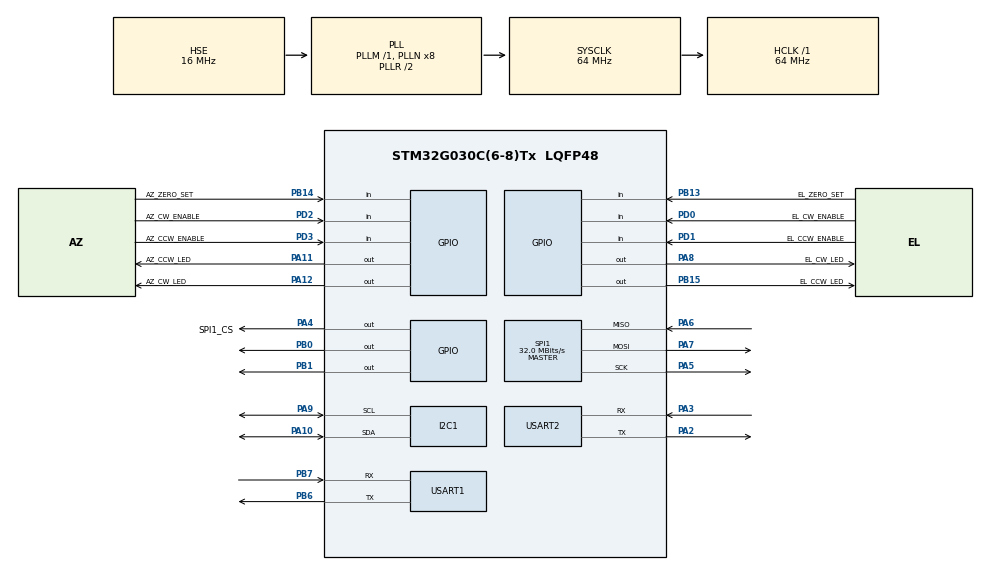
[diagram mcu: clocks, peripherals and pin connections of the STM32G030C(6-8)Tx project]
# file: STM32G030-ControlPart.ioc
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I2C1.Timing=0x10707DBC
Mcu.Family=STM32G0
Mcu.Name=STM32G030C(6-8)Tx
Mcu.Package=LQFP48
PA10.Mode=I2C
PA10.Signal=I2C1_SDA
PA11\ [PA9].GPIO_Label=AZ_CCW_LED
PA11\ [PA9].Signal=GPIO_Output
PA12\ [PA10].GPIO_Label=AZ_CW_LED
PA12\ [PA10].Signal=GPIO_Output
PA13.Mode=Serial_Wire
PA13.Signal=SYS_SWDIO
PA14-BOOT0.Mode=Serial_Wire
PA14-BOOT0.Signal=SYS_SWCLK
PA2.Mode=Asynchronous
PA2.Signal=USART2_TX
PA3.Mode=Asynchronous
PA3.Signal=USART2_RX
PA4.GPIO_Label=SPI1_CS
PA4.Signal=GPIO_Output
PA5.Mode=Full_Duplex_Master
PA5.Signal=SPI1_SCK
PA6.Mode=Full_Duplex_Master
PA6.Signal=SPI1_MISO
PA7.Mode=Full_Duplex_Master
PA7.Signal=SPI1_MOSI
PA8.GPIO_Label=EL_CW_LED
PA8.Signal=GPIO_Output
PA9.Mode=I2C
PA9.Signal=I2C1_SCL
PB0.Signal=GPIO_Output
PB1.Signal=GPIO_Output
PB13.GPIO_Label=EL_ZERO_SET
PB13.Signal=GPIO_Input
PB14.GPIO_Label=AZ_ZERO_SET
PB14.Signal=GPIO_Input
PB15.GPIO_Label=EL_CCW_LED
PB15.Signal=GPIO_Output
PB6.Mode=Asynchronous
PB6.Signal=USART1_TX
PB7.Mode=Asynchronous
PB7.Signal=USART1_RX
PD0.GPIO_Label=EL_CW_ENABLE
PD0.Signal=GPIO_Input
PD1.GPIO_Label=EL_CCW_ENABLE
PD1.Signal=GPIO_Input
PD2.GPIO_Label=AZ_CW_ENABLE
PD2.Signal=GPIO_Input
PD3.GPIO_Label=AZ_CCW_ENABLE
PD3.Signal=GPIO_Input
PF0-OSC_IN\ (PF0).Mode=HSE-External-Oscillator
PF0-OSC_IN\ (PF0).Signal=RCC_OSC_IN
PF1-OSC_OUT\ (PF1).Mode=HSE-External-Oscillator
PF1-OSC_OUT\ (PF1).Signal=RCC_OSC_OUT
ProjectManager.HeapSize=0x200
ProjectManager.StackSize=0x400
ProjectManager.TargetToolchain=MDK-ARM V5.32
RCC.ADCFreq_Value=64000000
RCC.AHBFreq_Value=64000000
RCC.CortexFreq_Value=64000000
RCC.EXTERNAL_CLOCK_VALUE=12288000
RCC.HCLKFreq_Value=64000000
RCC.HSE_VALUE=16000000
RCC.HSI_VALUE=16000000
RCC.LSE_VALUE=32768
RCC.PLLSourceVirtual=RCC_PLLSOURCE_HSE
RCC.SYSCLKFreq_VALUE=64000000
RCC.SYSCLKSource=RCC_SYSCLKSOURCE_PLLCLK
RCC.VCOOutputFreq_Value=128000000
SPI1.CalculateBaudRate=32.0 MBits/s
SPI1.Direction=SPI_DIRECTION_2LINES
SPI1.Mode=SPI_MODE_MASTER
SPI1.VirtualType=VM_MASTER
USART1.VirtualMode-Asynchronous=VM_ASYNC
USART2.VirtualMode-Asynchronous=VM_ASYNC
board=custom

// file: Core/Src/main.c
/* USER CODE BEGIN Header */
/**
 ******************************************************************************
 * @file           : main.c
 * @brief          : Main program body
 ******************************************************************************
 * @attention
 *
 * Copyright (c) 2022 STMicroelectronics.
 * All rights reserved.
 *
 * This software is licensed under terms that can be found in the LICENSE file
 * in the root directory of this software component.
 * If no LICENSE file comes with this software, it is provided AS-IS.
 *
 ******************************************************************************
 */
/* USER CODE END Header */
#include <stdint.h>
#include <stdbool.h>
#include "main.h"

/* USER CODE BEGIN Includes */
#include "i2c-lcd.h"
/* USER CODE END Includes */

I2C_HandleTypeDef hi2c1;

SPI_HandleTypeDef hspi1;

UART_HandleTypeDef huart1;
UART_HandleTypeDef huart2;

void SystemClock_Config(void);
static void MX_GPIO_Init(void);
static void MX_I2C1_Init(void);
static void MX_SPI1_Init(void);
static void MX_USART2_UART_Init(void);
static void MX_USART1_UART_Init(void);
/* USER CODE BEGIN PFP */
void UpdateRotateSPDTSwitch(void);
bool UpdateSingleRotateSwitchStatus(GPIO_TypeDef *Read_GPIO_Port, uint16_t Read_GPIO_Pin, GPIO_TypeDef *Write_GPIO_Port, uint16_t Write_GPIO_Pin, bool Current_Status);
/* USER CODE END PFP */

/* USER CODE BEGIN 0 */
bool IS_AZ_CW = false;
bool IS_AZ_CCW = false;
bool IS_EL_CW = false;
bool IS_EL_CCW = false;
/* USER CODE END 0 */

int main(void)
{

  /* MCU Configuration--------------------------------------------------------*/

  /* Reset of all peripherals, Initializes the Flash interface and the Systick. */
  HAL_Init();

  /* Configure the system clock */
  SystemClock_Config();

  /* Initialize all configured peripherals */
  MX_GPIO_Init();
  MX_I2C1_Init();
  MX_SPI1_Init();
  MX_USART2_UART_Init();
  MX_USART1_UART_Init();
  /* USER CODE BEGIN 2 */
  HAL_GPIO_WritePin(AZ_CW_LED_GPIO_Port, AZ_CW_LED_Pin, GPIO_PIN_SET);
  HAL_GPIO_WritePin(AZ_CCW_LED_GPIO_Port, AZ_CCW_LED_Pin, GPIO_PIN_SET);
  HAL_GPIO_WritePin(EL_CW_LED_GPIO_Port, EL_CW_LED_Pin, GPIO_PIN_SET);
  HAL_GPIO_WritePin(EL_CCW_LED_GPIO_Port, EL_CCW_LED_Pin, GPIO_PIN_SET);

  lcd_init();

  lcd_put_cur(0, 2);
  lcd_send_string("BY5HB EME SYSTEM");

  HAL_Delay(1000);

  lcd_put_cur(1, 0);

  lcd_send_string("AZ: 114.51");

  lcd_put_cur(2, 0);

  lcd_send_string("EL: 19.19");

  lcd_put_cur(3, 0);

  lcd_send_string("IP: 114.5.1.4");

  // lcd_clear ();
  /* USER CODE END 2 */

  /* Infinite loop */
  while (1)
  {

    /* USER CODE BEGIN 3 */
    UpdateRotateSPDTSwitch();
  }
  /* USER CODE END 3 */
}

void SystemClock_Config(void)
{
  RCC_OscInitTypeDef RCC_OscInitStruct = {0};
  RCC_ClkInitTypeDef RCC_ClkInitStruct = {0};

  /** Configure the main internal regulator output voltage
   */
  HAL_PWREx_ControlVoltageScaling(PWR_REGULATOR_VOLTAGE_SCALE1);

  /** Initializes the RCC Oscillators according to the specified parameters
   * in the RCC_OscInitTypeDef structure.
   */
  RCC_OscInitStruct.OscillatorType = RCC_OSCILLATORTYPE_HSE;
  RCC_OscInitStruct.HSEState = RCC_HSE_ON;
  RCC_OscInitStruct.PLL.PLLState = RCC_PLL_ON;
  RCC_OscInitStruct.PLL.PLLSource = RCC_PLLSOURCE_HSE;
  RCC_OscInitStruct.PLL.PLLM = RCC_PLLM_DIV1;
  RCC_OscInitStruct.PLL.PLLN = 8;
  RCC_OscInitStruct.PLL.PLLP = RCC_PLLP_DIV2;
  RCC_OscInitStruct.PLL.PLLR = RCC_PLLR_DIV2;
  if (HAL_RCC_OscConfig(&RCC_OscInitStruct) != HAL_OK)
  {
    Error_Handler();
  }

  /** Initializes the CPU, AHB and APB buses clocks
   */
  RCC_ClkInitStruct.ClockType = RCC_CLOCKTYPE_HCLK | RCC_CLOCKTYPE_SYSCLK | RCC_CLOCKTYPE_PCLK1;
  RCC_ClkInitStruct.SYSCLKSource = RCC_SYSCLKSOURCE_PLLCLK;
  RCC_ClkInitStruct.AHBCLKDivider = RCC_SYSCLK_DIV1;
  RCC_ClkInitStruct.APB1CLKDivider = RCC_HCLK_DIV1;

  if (HAL_RCC_ClockConfig(&RCC_ClkInitStruct, FLASH_LATENCY_2) != HAL_OK)
  {
    Error_Handler();
  }
}

static void MX_I2C1_Init(void)
{

  hi2c1.Instance = I2C1;
  hi2c1.Init.Timing = 0x10707DBC;
  hi2c1.Init.OwnAddress1 = 0;
  hi2c1.Init.AddressingMode = I2C_ADDRESSINGMODE_7BIT;
  hi2c1.Init.DualAddressMode = I2C_DUALADDRESS_DISABLE;
  hi2c1.Init.OwnAddress2 = 0;
  hi2c1.Init.OwnAddress2Masks = I2C_OA2_NOMASK;
  hi2c1.Init.GeneralCallMode = I2C_GENERALCALL_DISABLE;
  hi2c1.Init.NoStretchMode = I2C_NOSTRETCH_DISABLE;
  if (HAL_I2C_Init(&hi2c1) != HAL_OK)
  {
    Error_Handler();
  }

  /** Configure Analogue filter
   */
  if (HAL_I2CEx_ConfigAnalogFilter(&hi2c1, I2C_ANALOGFILTER_ENABLE) != HAL_OK)
  {
    Error_Handler();
  }

  /** Configure Digital filter
   */
  if (HAL_I2CEx_ConfigDigitalFilter(&hi2c1, 0) != HAL_OK)
  {
    Error_Handler();
  }
}

static void MX_SPI1_Init(void)
{

  /* SPI1 parameter configuration*/
  hspi1.Instance = SPI1;
  hspi1.Init.Mode = SPI_MODE_MASTER;
  hspi1.Init.Direction = SPI_DIRECTION_2LINES;
  hspi1.Init.DataSize = SPI_DATASIZE_8BIT;
  hspi1.Init.CLKPolarity = SPI_POLARITY_LOW;
  hspi1.Init.CLKPhase = SPI_PHASE_1EDGE;
  hspi1.Init.NSS = SPI_NSS_SOFT;
  hspi1.Init.BaudRatePrescaler = SPI_BAUDRATEPRESCALER_2;
  hspi1.Init.FirstBit = SPI_FIRSTBIT_MSB;
  hspi1.Init.TIMode = SPI_TIMODE_DISABLE;
  hspi1.Init.CRCCalculation = SPI_CRCCALCULATION_DISABLE;
  hspi1.Init.CRCPolynomial = 7;
  hspi1.Init.CRCLength = SPI_CRC_LENGTH_DATASIZE;
  hspi1.Init.NSSPMode = SPI_NSS_PULSE_ENABLE;
  if (HAL_SPI_Init(&hspi1) != HAL_OK)
  {
    Error_Handler();
  }
}

static void MX_USART1_UART_Init(void)
{

  huart1.Instance = USART1;
  huart1.Init.BaudRate = 115200;
  huart1.Init.WordLength = UART_WORDLENGTH_8B;
  huart1.Init.StopBits = UART_STOPBITS_1;
  huart1.Init.Parity = UART_PARITY_NONE;
  huart1.Init.Mode = UART_MODE_TX_RX;
  huart1.Init.HwFlowCtl = UART_HWCONTROL_NONE;
  huart1.Init.OverSampling = UART_OVERSAMPLING_16;
  huart1.Init.OneBitSampling = UART_ONE_BIT_SAMPLE_DISABLE;
  huart1.Init.ClockPrescaler = UART_PRESCALER_DIV1;
  huart1.AdvancedInit.AdvFeatureInit = UART_ADVFEATURE_NO_INIT;
  if (HAL_UART_Init(&huart1) != HAL_OK)
  {
    Error_Handler();
  }
  if (HAL_UARTEx_SetTxFifoThreshold(&huart1, UART_TXFIFO_THRESHOLD_1_8) != HAL_OK)
  {
    Error_Handler();
  }
  if (HAL_UARTEx_SetRxFifoThreshold(&huart1, UART_RXFIFO_THRESHOLD_1_8) != HAL_OK)
  {
    Error_Handler();
  }
  if (HAL_UARTEx_DisableFifoMode(&huart1) != HAL_OK)
  {
    Error_Handler();
  }
}

static void MX_USART2_UART_Init(void)
{

  huart2.Instance = USART2;
  huart2.Init.BaudRate = 115200;
  huart2.Init.WordLength = UART_WORDLENGTH_8B;
  huart2.Init.StopBits = UART_STOPBITS_1;
  huart2.Init.Parity = UART_PARITY_NONE;
  huart2.Init.Mode = UART_MODE_TX_RX;
  huart2.Init.HwFlowCtl = UART_HWCONTROL_NONE;
  huart2.Init.OverSampling = UART_OVERSAMPLING_16;
  huart2.Init.OneBitSampling = UART_ONE_BIT_SAMPLE_DISABLE;
  huart2.Init.ClockPrescaler = UART_PRESCALER_DIV1;
  huart2.AdvancedInit.AdvFeatureInit = UART_ADVFEATURE_NO_INIT;
  if (HAL_UART_Init(&huart2) != HAL_OK)
  {
    Error_Handler();
  }
}

static void MX_GPIO_Init(void)
{
  GPIO_InitTypeDef GPIO_InitStruct = {0};

  /* GPIO Ports Clock Enable */
  __HAL_RCC_GPIOF_CLK_ENABLE();
  __HAL_RCC_GPIOA_CLK_ENABLE();
  __HAL_RCC_GPIOB_CLK_ENABLE();
  __HAL_RCC_GPIOD_CLK_ENABLE();

  /*Configure GPIO pin Output Level */
  HAL_GPIO_WritePin(GPIOA, SPI1_CS_Pin | EL_CW_LED_Pin | AZ_CCW_LED_Pin | AZ_CW_LED_Pin, GPIO_PIN_RESET);

  /*Configure GPIO pin Output Level */
  HAL_GPIO_WritePin(GPIOB, GPIO_PIN_0 | GPIO_PIN_1 | EL_CCW_LED_Pin, GPIO_PIN_RESET);

  /*Configure GPIO pins : SPI1_CS_Pin EL_CW_LED_Pin AZ_CCW_LED_Pin AZ_CW_LED_Pin */
  GPIO_InitStruct.Pin = SPI1_CS_Pin | EL_CW_LED_Pin | AZ_CCW_LED_Pin | AZ_CW_LED_Pin;
  GPIO_InitStruct.Mode = GPIO_MODE_OUTPUT_PP;
  GPIO_InitStruct.Pull = GPIO_NOPULL;
  GPIO_InitStruct.Speed = GPIO_SPEED_FREQ_LOW;
  HAL_GPIO_Init(GPIOA, &GPIO_InitStruct);

  /*Configure GPIO pins : PB0 PB1 EL_CCW_LED_Pin */
  GPIO_InitStruct.Pin = GPIO_PIN_0 | GPIO_PIN_1 | EL_CCW_LED_Pin;
  GPIO_InitStruct.Mode = GPIO_MODE_OUTPUT_PP;
  GPIO_InitStruct.Pull = GPIO_NOPULL;
  GPIO_InitStruct.Speed = GPIO_SPEED_FREQ_LOW;
  HAL_GPIO_Init(GPIOB, &GPIO_InitStruct);

  /*Configure GPIO pins : EL_ZERO_SET_Pin AZ_ZERO_SET_Pin */
  GPIO_InitStruct.Pin = EL_ZERO_SET_Pin | AZ_ZERO_SET_Pin;
  GPIO_InitStruct.Mode = GPIO_MODE_INPUT;
  GPIO_InitStruct.Pull = GPIO_NOPULL;
  HAL_GPIO_Init(GPIOB, &GPIO_InitStruct);

  /*Configure GPIO pins : EL_CW_ENABLE_Pin EL_CCW_ENABLE_Pin AZ_CW_ENABLE_Pin AZ_CCW_ENABLE_Pin */
  GPIO_InitStruct.Pin = EL_CW_ENABLE_Pin | EL_CCW_ENABLE_Pin | AZ_CW_ENABLE_Pin | AZ_CCW_ENABLE_Pin;
  GPIO_InitStruct.Mode = GPIO_MODE_INPUT;
  GPIO_InitStruct.Pull = GPIO_NOPULL;
  HAL_GPIO_Init(GPIOD, &GPIO_InitStruct);
}

/* USER CODE BEGIN 4 */

bool UpdateSingleRotateSwitchStatus(GPIO_TypeDef *Read_GPIO_Port, uint16_t Read_GPIO_Pin, GPIO_TypeDef *Write_GPIO_Port, uint16_t Write_GPIO_Pin, bool Current_Status)
{
  if (HAL_GPIO_ReadPin(Read_GPIO_Port, Read_GPIO_Pin))
  {
    if (Current_Status == false)
    {
      HAL_GPIO_WritePin(Write_GPIO_Port, Write_GPIO_Pin, GPIO_PIN_RESET);
    }
    return true;
  }
  else
  {
    if (Current_Status == true)
    {
      HAL_GPIO_WritePin(Write_GPIO_Port, Write_GPIO_Pin, GPIO_PIN_SET);
    }
    return false;
  }
}

void UpdateRotateSPDTSwitch(void)
{
  IS_AZ_CW = UpdateSingleRotateSwitchStatus(AZ_CW_ENABLE_GPIO_Port, AZ_CW_ENABLE_Pin, AZ_CCW_LED_GPIO_Port, AZ_CW_LED_Pin, IS_AZ_CW);
  IS_AZ_CCW = UpdateSingleRotateSwitchStatus(AZ_CCW_ENABLE_GPIO_Port, AZ_CCW_ENABLE_Pin, AZ_CCW_LED_GPIO_Port, AZ_CCW_LED_Pin, IS_AZ_CCW);
  IS_EL_CW = UpdateSingleRotateSwitchStatus(EL_CW_ENABLE_GPIO_Port, EL_CW_ENABLE_Pin, EL_CW_LED_GPIO_Port, EL_CW_LED_Pin, IS_EL_CW);
  IS_EL_CCW = UpdateSingleRotateSwitchStatus(EL_CCW_ENABLE_GPIO_Port, EL_CCW_ENABLE_Pin, EL_CCW_LED_GPIO_Port, EL_CCW_LED_Pin, IS_EL_CCW);
}
/* USER CODE END 4 */

void Error_Handler(void)
{
  __disable_irq();
  while (1)
  {
  }
}
